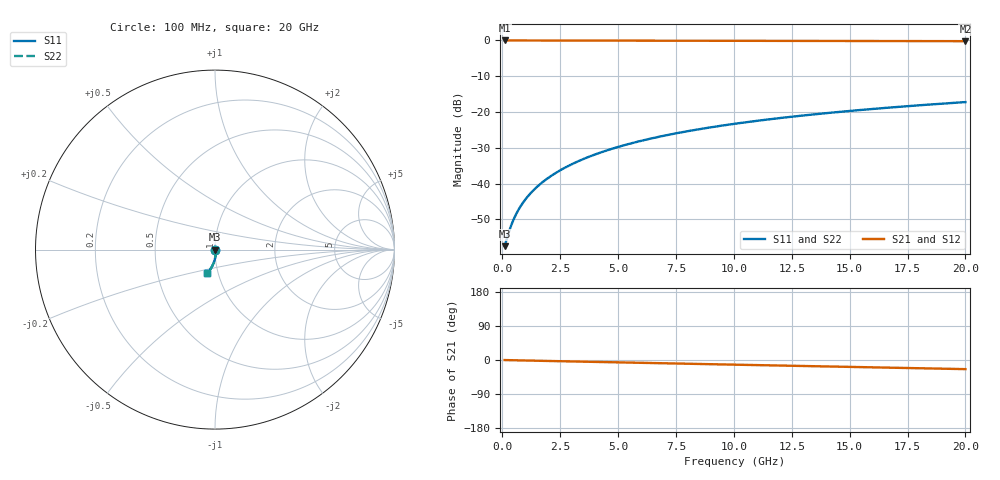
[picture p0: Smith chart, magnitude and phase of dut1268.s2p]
! Touchstone file exported from HFSS 2026.1.0
!  File:  C:/ffzhzh/LocalFiles/Ansys_Project_Files/temp_train_BSMRDL_1268_1783177630_43440.aedt
!  Generated:  11:08:15 PM Jul  4, 2026
!  Design:  BSMRDL
!  Project:  temp_train_BSMRDL_1268_1783177630_43440
! Variables:
!  h_bsmrdl = 5.99um
!  h_ox = 20um
!  h_rdl = 5um
!  h_sub = 80um
!  h_tmrdl = 5um
!  h_tsv = 80um
!  h_via = 3um
!  l_bsmrdl = 407.4um
!  l_sub = 807.4um
!  l_tmrdl = 200um
!  m_sub = 200um
!  pitch = 25.46um
!  r_tsv = 6um
!  s_tmrdl = 10um
!  w_bsmrdl = 22.89um
!  w_sub = 500um
!  w_tmrdl = 12um
!  x_tsv_center1 = 206um
!  x_tsv_center2 = 636.29um
!  x_tsv_center3 = 848.29um
!  x_tsv_center4 = 1278.58um
!  x_tsv_center5 = 1490.58um
!  x_tsv_center6 = 1920.87um
# GHz S MA R 50.000000
! Terminal data exported
! Port[1] = BSM_RDL1_1_T1
! Port[2] = BSM_RDL1_1_T2
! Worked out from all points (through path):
!   200 points, 100 MHz to 20 GHz, reference 50 ohm
!   highest |S21| = -0.01 dB at 100 MHz (marker M1); lowest = -0.2 dB at 20 GHz (marker M2)
!   group delay of S21, straight-line fit = 3.33 ps
!   lowest |S11| = -57.5 dB at 100 MHz (marker M3), VSWR 1.00, Z = 50.1 - j0.0169 ohm
!   |S11| at or under -10 dB: start of sweep to end of sweep
!   |S22| runs from -57.5 to -17.2 dB; largest |S21 - S12| = 6.2e-15
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0.1  0.001332 -7.3  0.9987 -0.2  0.9987 -0.2  0.001332 -7.3
! Gamma 0 0 0 0
! Port Impedance 50 0 50 0
0.3  0.00218 -31.1  0.9981 -0.4  0.9981 -0.4  0.00218 -31.1
0.4  0.002682 -40.6  0.9979 -0.5  0.9979 -0.5  0.002682 -40.6
0.5  0.003207 -47.9  0.9978 -0.7  0.9978 -0.7  0.003208 -47.8
0.6  0.003749 -53.4  0.9977 -0.8  0.9977 -0.8  0.003749 -53.3
0.7  0.004302 -57.6  0.9976 -0.9  0.9976 -0.9  0.004303 -57.6
0.9  0.005436 -63.7  0.9975 -1.2  0.9975 -1.2  0.005437 -63.6
1.2  0.007186 -69.2  0.9972 -1.6  0.9972 -1.6  0.007188 -69.2
1.4  0.008381 -71.7  0.9971 -1.8  0.9971 -1.8  0.008383 -71.6
1.7  0.01021 -74.3  0.9968 -2.2  0.9968 -2.2  0.01021 -74.2
2.2  0.01336 -77.1  0.9963 -2.8  0.9963 -2.8  0.01336 -77.1
2.8  0.01727 -79.5  0.9956 -3.6  0.9956 -3.6  0.01727 -79.4
3.5  0.02198 -81.6  0.9949 -4.4  0.9949 -4.4  0.02199 -81.5
4.2  0.02682 -83.3  0.9941 -5.3  0.9941 -5.3  0.02683 -83.3
5  0.03244 -85.2  0.9932 -6.3  0.9932 -6.3  0.03245 -85.1
5.9  0.03883 -87.0  0.9923 -7.4  0.9923 -7.4  0.03884 -87.0
6.8  0.04525 -88.8  0.9913 -8.4  0.9913 -8.4  0.04526 -88.7
8.3  0.05598 -91.5  0.9898 -10.2  0.9898 -10.2  0.05599 -91.4
10.1  0.06882 -94.5  0.988 -12.4  0.988 -12.4  0.06884 -94.4
13.4  0.09215 -99.4  0.9844 -16.3  0.9844 -16.3  0.09218 -99.3
16.7  0.1151 -104.0  0.9804 -20.2  0.9804 -20.2  0.1151 -103.8
20  0.1374 -108.4  0.976 -24.1  0.976 -24.1  0.1374 -108.2
